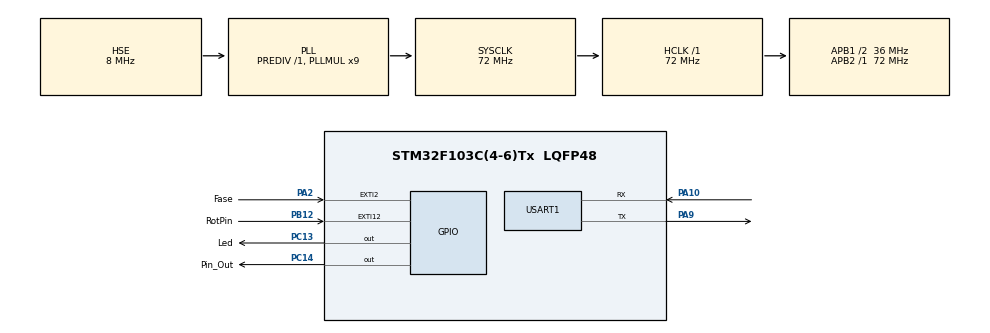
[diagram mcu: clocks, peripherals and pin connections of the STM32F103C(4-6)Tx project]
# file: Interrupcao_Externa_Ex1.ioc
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Mcu.Family=STM32F1
Mcu.Name=STM32F103C(4-6)Tx
Mcu.Package=LQFP48
NVIC.EXTI15_10_IRQn=true\:0\:0\:false\:false\:true\:true\:true\:true
NVIC.EXTI2_IRQn=true\:1\:0\:true\:false\:true\:true\:true\:true
NVIC.PriorityGroup=NVIC_PRIORITYGROUP_4
PA10.Mode=Asynchronous
PA10.Signal=USART1_RX
PA13.Mode=Serial_Wire
PA13.Signal=SYS_JTMS-SWDIO
PA14.Mode=Serial_Wire
PA14.Signal=SYS_JTCK-SWCLK
PA2.GPIO_Label=Fase
PA2.GPIO_ModeDefaultEXTI=GPIO_MODE_IT_RISING
PA2.GPIO_PuPd=GPIO_PULLDOWN
PA2.Signal=GPXTI2
PA9.Mode=Asynchronous
PA9.Signal=USART1_TX
PB12.GPIO_Label=RotPin
PB12.GPIO_PuPd=GPIO_PULLDOWN
PB12.Signal=GPXTI12
PC13-TAMPER-RTC.GPIO_Label=Led
PC13-TAMPER-RTC.Signal=GPIO_Output
PC14-OSC32_IN.GPIO_Label=Pin_Out
PC14-OSC32_IN.Signal=GPIO_Output
PD0-OSC_IN.Mode=HSE-External-Oscillator
PD0-OSC_IN.Signal=RCC_OSC_IN
PD1-OSC_OUT.Mode=HSE-External-Oscillator
PD1-OSC_OUT.Signal=RCC_OSC_OUT
ProjectManager.HeapSize=0x200
ProjectManager.StackSize=0x400
ProjectManager.TargetToolchain=STM32CubeIDE
RCC.AHBFreq_Value=72000000
RCC.APB1CLKDivider=RCC_HCLK_DIV2
RCC.APB1Freq_Value=36000000
RCC.APB1TimFreq_Value=72000000
RCC.APB2Freq_Value=72000000
RCC.APB2TimFreq_Value=72000000
RCC.HCLKFreq_Value=72000000
RCC.PLLMUL=RCC_PLL_MUL9
RCC.PLLSourceVirtual=RCC_PLLSOURCE_HSE
RCC.SYSCLKFreq_VALUE=72000000
RCC.SYSCLKSource=RCC_SYSCLKSOURCE_PLLCLK
RCC.USBFreq_Value=72000000
TIM2.AutoReloadPreload=TIM_AUTORELOAD_PRELOAD_ENABLE
TIM2.Prescaler=719
USART1.VirtualMode=VM_ASYNC
VP_TIM2_VS_ClockSourceINT.Mode=Internal
VP_TIM2_VS_ClockSourceITR.Mode=TriggerSource_ITR0
board=custom

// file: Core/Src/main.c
/* USER CODE BEGIN Header */
/**
  ******************************************************************************
  * @file           : main.c
  * @brief          : Main program body
  ******************************************************************************
  * @attention
  *
  * Copyright (c) 2026 STMicroelectronics.
  * All rights reserved.
  *
  * This software is licensed under terms that can be found in the LICENSE file
  * in the root directory of this software component.
  * If no LICENSE file comes with this software, it is provided AS-IS.
  *
  ******************************************************************************
  */
/* USER CODE END Header */
#include "main.h"

/* USER CODE BEGIN Includes */
#include "stdio.h"
#include "string.h"
/* USER CODE END Includes */

/* USER CODE BEGIN PTD */
typedef enum {
	desligado=0,
	ligado
}LED_State;

typedef enum {
	Pin_ON = 1,
	Pin_OFF = 0
}PinOutState;

/* USER CODE END PTD */

TIM_HandleTypeDef htim2;

UART_HandleTypeDef huart1;

/* USER CODE BEGIN PV */
char msg[50];
uint8_t denteRodaFonica = 0;
uint8_t envia_msg = 0;
uint16_t periodo_us=0;
uint16_t frequencia;
uint16_t periodo_ms;
uint16_t count;
uint16_t count_anterior;
uint16_t timerPeriod;
uint8_t posAngular=0;
/* USER CODE END PV */

void SystemClock_Config(void);
static void MX_GPIO_Init(void);
static void MX_TIM2_Init(void);
static void MX_USART1_UART_Init(void);

/* USER CODE BEGIN 0 */

//***************************************************************************************************************************************
void HAL_GPIO_EXTI_Callback(uint16_t GPIO_Pin)
{
	 count = __HAL_TIM_GET_COUNTER(&htim2); // Lê o valor atual do contador --> cada count vale 10us pela confg que usei
	  __HAL_TIM_DISABLE(&htim2);          // Desabilita o timer
	  __HAL_TIM_SET_COUNTER(&htim2, 0);   // Reinicia contador
	  __HAL_TIM_ENABLE(&htim2);           // Reinicia o Timer

	 if(count>(uint16_t)count_anterior*2.5)
	 {
		 denteRodaFonica = 1;
		 count_anterior=count;
		 posAngular=0;

	 }
	 else
	 {
		 denteRodaFonica++;
		 posAngular= posAngular+6;
		 periodo_us = count*10;
			 if(denteRodaFonica==5)
			 {
				 HAL_GPIO_WritePin(Pin_Out_GPIO_Port, Pin_Out_Pin, Pin_ON);
			 }
			 if(denteRodaFonica==7)
			 {
				 HAL_GPIO_WritePin(Pin_Out_GPIO_Port, Pin_Out_Pin, Pin_OFF);
			 }
		 count_anterior=count;
		 }

	 EXTI->PR = EXTI_PR_PR12;  // Escreve 1 no bit para limpar flag de interrupção
}
//**********************************************************************************

/* USER CODE END 0 */

int main(void)
{

  /* MCU Configuration--------------------------------------------------------*/

  /* Reset of all peripherals, Initializes the Flash interface and the Systick. */
  HAL_Init();

  /* Configure the system clock */
  SystemClock_Config();

  /* Initialize all configured peripherals */
  MX_GPIO_Init();
  MX_TIM2_Init();
  MX_USART1_UART_Init();
  /* USER CODE BEGIN 2 */
  __HAL_TIM_ENABLE(&htim2);

  /* USER CODE END 2 */

  /* Infinite loop */
  /* USER CODE BEGIN WHILE */
  while (1)
  {
	  HAL_Delay(500);
		  frequencia = 1000000/periodo_us;

		  sprintf(msg, "PERIODO us = %d\r\n", periodo_us);
		  HAL_UART_Transmit(&huart1, (uint8_t*)msg, strlen(msg), HAL_MAX_DELAY);
		  sprintf(msg, "FREQUENCIA = %d\r\n", frequencia);
		  HAL_UART_Transmit(&huart1, (uint8_t*)msg, strlen(msg), HAL_MAX_DELAY);
		  sprintf(msg, "Dente_Fonica = %d\r\n", denteRodaFonica);
		  HAL_UART_Transmit(&huart1, (uint8_t*)msg, strlen(msg), HAL_MAX_DELAY);
		  sprintf(msg, "POS ANGULAR = %d\r\n", posAngular);
		  HAL_UART_Transmit(&huart1, (uint8_t*)msg, strlen(msg), HAL_MAX_DELAY);

		  HAL_GPIO_TogglePin(Led_GPIO_Port, Led_Pin);

    /* USER CODE END WHILE */

  }
}

void SystemClock_Config(void)
{
  RCC_OscInitTypeDef RCC_OscInitStruct = {0};
  RCC_ClkInitTypeDef RCC_ClkInitStruct = {0};

  /** Initializes the RCC Oscillators according to the specified parameters
  * in the RCC_OscInitTypeDef structure.
  */
  RCC_OscInitStruct.OscillatorType = RCC_OSCILLATORTYPE_HSE;
  RCC_OscInitStruct.HSEState = RCC_HSE_ON;
  RCC_OscInitStruct.HSEPredivValue = RCC_HSE_PREDIV_DIV1;
  RCC_OscInitStruct.HSIState = RCC_HSI_ON;
  RCC_OscInitStruct.PLL.PLLState = RCC_PLL_ON;
  RCC_OscInitStruct.PLL.PLLSource = RCC_PLLSOURCE_HSE;
  RCC_OscInitStruct.PLL.PLLMUL = RCC_PLL_MUL9;
  if (HAL_RCC_OscConfig(&RCC_OscInitStruct) != HAL_OK)
  {
    Error_Handler();
  }

  /** Initializes the CPU, AHB and APB buses clocks
  */
  RCC_ClkInitStruct.ClockType = RCC_CLOCKTYPE_HCLK|RCC_CLOCKTYPE_SYSCLK
                              |RCC_CLOCKTYPE_PCLK1|RCC_CLOCKTYPE_PCLK2;
  RCC_ClkInitStruct.SYSCLKSource = RCC_SYSCLKSOURCE_PLLCLK;
  RCC_ClkInitStruct.AHBCLKDivider = RCC_SYSCLK_DIV1;
  RCC_ClkInitStruct.APB1CLKDivider = RCC_HCLK_DIV2;
  RCC_ClkInitStruct.APB2CLKDivider = RCC_HCLK_DIV1;

  if (HAL_RCC_ClockConfig(&RCC_ClkInitStruct, FLASH_LATENCY_2) != HAL_OK)
  {
    Error_Handler();
  }
}

static void MX_TIM2_Init(void)
{

  TIM_ClockConfigTypeDef sClockSourceConfig = {0};
  TIM_SlaveConfigTypeDef sSlaveConfig = {0};
  TIM_MasterConfigTypeDef sMasterConfig = {0};

  htim2.Instance = TIM2;
  htim2.Init.Prescaler = 719;
  htim2.Init.CounterMode = TIM_COUNTERMODE_UP;
  htim2.Init.Period = 65535;
  htim2.Init.ClockDivision = TIM_CLOCKDIVISION_DIV1;
  htim2.Init.AutoReloadPreload = TIM_AUTORELOAD_PRELOAD_ENABLE;
  if (HAL_TIM_Base_Init(&htim2) != HAL_OK)
  {
    Error_Handler();
  }
  sClockSourceConfig.ClockSource = TIM_CLOCKSOURCE_INTERNAL;
  if (HAL_TIM_ConfigClockSource(&htim2, &sClockSourceConfig) != HAL_OK)
  {
    Error_Handler();
  }
  sSlaveConfig.SlaveMode = TIM_SLAVEMODE_DISABLE;
  sSlaveConfig.InputTrigger = TIM_TS_ITR0;
  if (HAL_TIM_SlaveConfigSynchro(&htim2, &sSlaveConfig) != HAL_OK)
  {
    Error_Handler();
  }
  sMasterConfig.MasterOutputTrigger = TIM_TRGO_RESET;
  sMasterConfig.MasterSlaveMode = TIM_MASTERSLAVEMODE_DISABLE;
  if (HAL_TIMEx_MasterConfigSynchronization(&htim2, &sMasterConfig) != HAL_OK)
  {
    Error_Handler();
  }

}

static void MX_USART1_UART_Init(void)
{

  huart1.Instance = USART1;
  huart1.Init.BaudRate = 115200;
  huart1.Init.WordLength = UART_WORDLENGTH_8B;
  huart1.Init.StopBits = UART_STOPBITS_1;
  huart1.Init.Parity = UART_PARITY_NONE;
  huart1.Init.Mode = UART_MODE_TX_RX;
  huart1.Init.HwFlowCtl = UART_HWCONTROL_NONE;
  huart1.Init.OverSampling = UART_OVERSAMPLING_16;
  if (HAL_UART_Init(&huart1) != HAL_OK)
  {
    Error_Handler();
  }

}

static void MX_GPIO_Init(void)
{
  GPIO_InitTypeDef GPIO_InitStruct = {0};

  /* GPIO Ports Clock Enable */
  __HAL_RCC_GPIOC_CLK_ENABLE();
  __HAL_RCC_GPIOD_CLK_ENABLE();
  __HAL_RCC_GPIOA_CLK_ENABLE();
  __HAL_RCC_GPIOB_CLK_ENABLE();

  /*Configure GPIO pin Output Level */
  HAL_GPIO_WritePin(GPIOC, Led_Pin|Pin_Out_Pin, GPIO_PIN_RESET);

  /*Configure GPIO pins : Led_Pin Pin_Out_Pin */
  GPIO_InitStruct.Pin = Led_Pin|Pin_Out_Pin;
  GPIO_InitStruct.Mode = GPIO_MODE_OUTPUT_PP;
  GPIO_InitStruct.Pull = GPIO_NOPULL;
  GPIO_InitStruct.Speed = GPIO_SPEED_FREQ_LOW;
  HAL_GPIO_Init(GPIOC, &GPIO_InitStruct);

  /*Configure GPIO pin : Fase_Pin */
  GPIO_InitStruct.Pin = Fase_Pin;
  GPIO_InitStruct.Mode = GPIO_MODE_IT_RISING;
  GPIO_InitStruct.Pull = GPIO_PULLDOWN;
  HAL_GPIO_Init(Fase_GPIO_Port, &GPIO_InitStruct);

  /*Configure GPIO pin : RotPin_Pin */
  GPIO_InitStruct.Pin = RotPin_Pin;
  GPIO_InitStruct.Mode = GPIO_MODE_IT_RISING;
  GPIO_InitStruct.Pull = GPIO_PULLDOWN;
  HAL_GPIO_Init(RotPin_GPIO_Port, &GPIO_InitStruct);

  /* EXTI interrupt init*/
  HAL_NVIC_SetPriority(EXTI2_IRQn, 1, 0);
  HAL_NVIC_EnableIRQ(EXTI2_IRQn);

  HAL_NVIC_SetPriority(EXTI15_10_IRQn, 0, 0);
  HAL_NVIC_EnableIRQ(EXTI15_10_IRQn);

}

void Error_Handler(void)
{
  __disable_irq();
  while (1)
  {
  }
}
